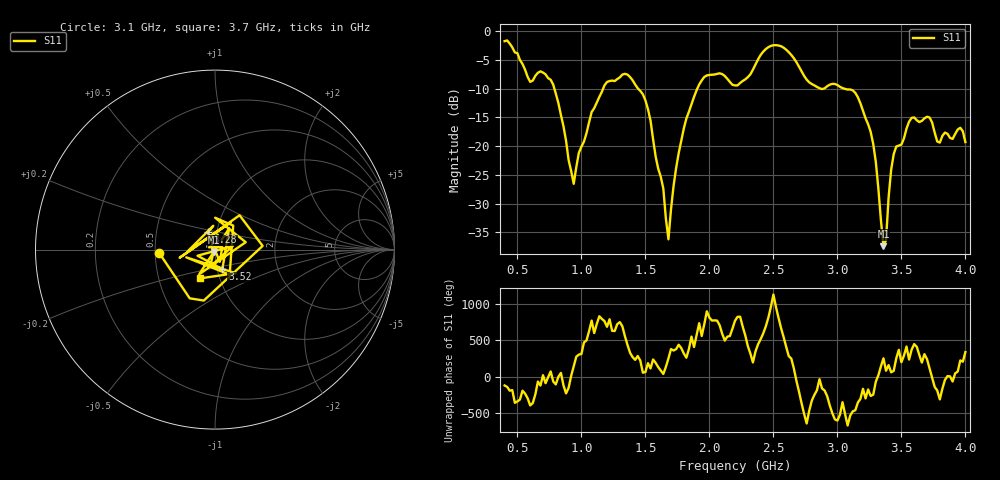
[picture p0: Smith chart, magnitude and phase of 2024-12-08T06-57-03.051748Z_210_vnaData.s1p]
!Created with skrf (http://scikit-rf.org).
# Hz S RI R 50.0
!freq ReS11 ImS11
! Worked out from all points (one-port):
!   181 points, 400 MHz to 4 GHz, reference 50 ohm
!   lowest |S11| = -37.4 dB at 3.36 GHz (marker M1), VSWR 1.03, Z = 49.6 - j1.28 ohm
!   |S11| at or under -10 dB: 788.9 MHz to 1.17 GHz (380.8 MHz wide, 38.9 % of centre); 1.443 GHz to 1.906 GHz (462.6 MHz wide, 27.6 % of centre); 3.054 GHz to end of sweep (the widest 3 of 4)
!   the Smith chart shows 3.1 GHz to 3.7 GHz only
!   S11 on the Smith chart (normalised r, x): 3.1 GHz: 0.53, -0.02; 3.28 GHz: 0.91, +0.18; 3.52 GHz: 1.06, -0.23; 3.7 GHz: 0.81, -0.27
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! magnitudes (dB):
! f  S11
! 400 MHz  -1.7
! 600 MHz  -8.8
! 760 MHz  -8.4
! 860 MHz  -16.6
! 940 MHz  -26.6
! 1.08 GHz  -14.1
! 1.3 GHz  -8.0
! 1.5 GHz  -12.0
! 1.64 GHz  -27.4
! 1.68 GHz  -36.2
! 1.76 GHz  -21.2
! 1.96 GHz  -8.0
! 2.2 GHz  -9.4
! 2.48 GHz  -2.6
! 2.66 GHz  -4.7
! 2.8 GHz  -9.2
! 3.1 GHz  -10.1
! 3.28 GHz  -19.6
! 3.36 GHz  -37.4
! 3.38 GHz  -36.4
! 3.4 GHz  -28.9
! 3.44 GHz  -21.4
! 3.52 GHz  -18.7
! 3.56 GHz  -15.7
! 3.7 GHz  -14.9
! 3.78 GHz  -19.2
! 3.96 GHz  -16.8
! 4 GHz  -19.3
